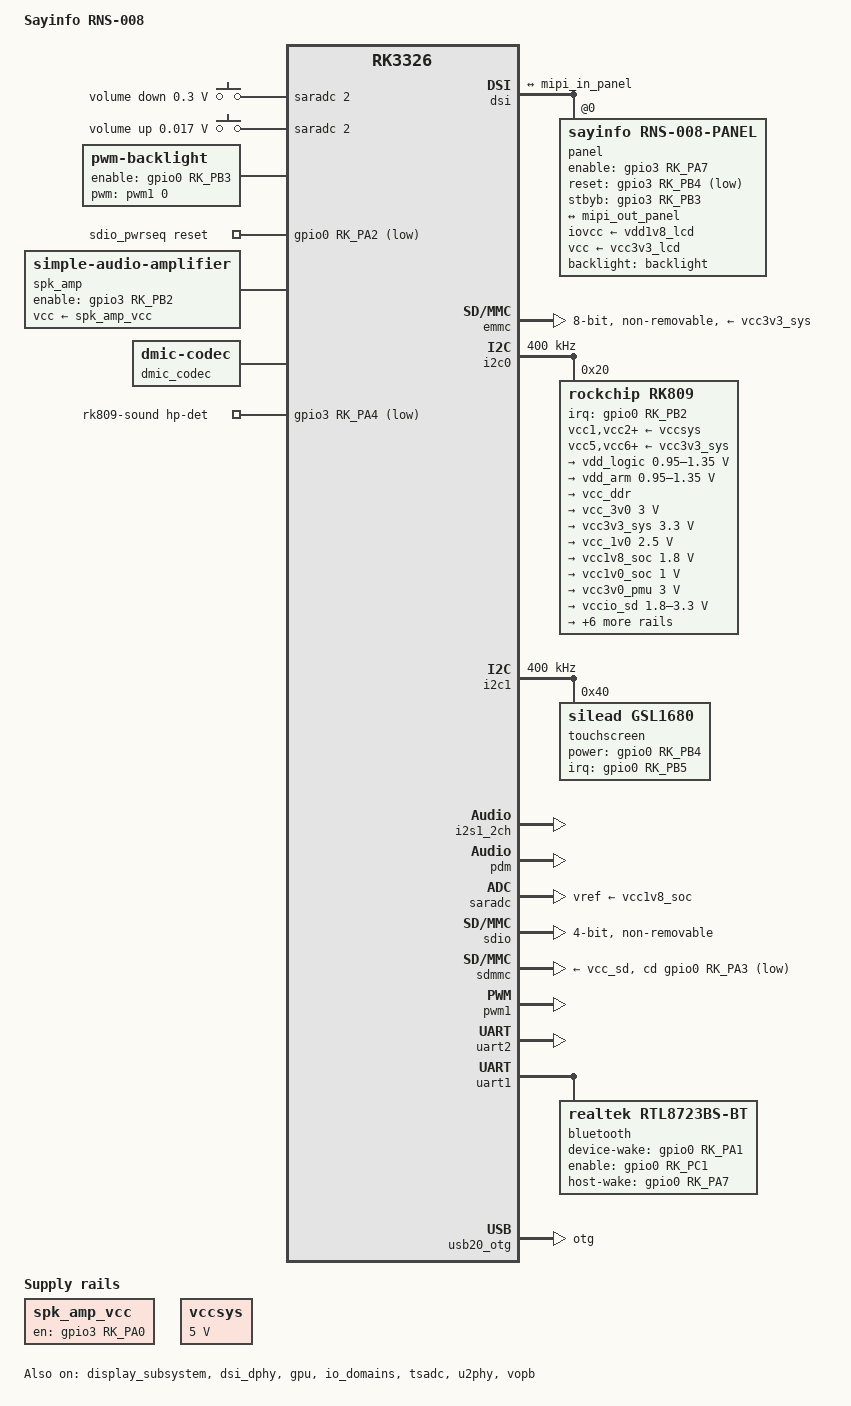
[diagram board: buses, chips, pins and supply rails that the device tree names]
// SPDX-License-Identifier: (GPL-2.0+ OR MIT)
/*
 * Copyright (c) 2026 Jun Yan <jerrysteve1101@gmail.com>
 */

/dts-v1/;
#include <dt-bindings/gpio/gpio.h>
#include <dt-bindings/input/input.h>
#include <dt-bindings/interrupt-controller/irq.h>
#include <dt-bindings/pinctrl/rockchip.h>
#include "rk3326.dtsi"

/ {
	model = "Sayinfo RNS-008";
	compatible = "sayinfo,rns-008", "rockchip,rk3326";

	aliases {
		mmc0 = &emmc;
		mmc1 = &sdmmc;
		mmc2 = &sdio;
	};

	chosen {
		stdout-path = "serial2:1500000n8";
	};

	adc_keys: adc-keys {
		compatible = "adc-keys";
		io-channels = <&saradc 2>;
		io-channel-names = "buttons";
		keyup-threshold-microvolt = <1800000>;
		poll-interval = <100>;

		button-vol-down {
			label = "volume down";
			linux,code = <KEY_VOLUMEDOWN>;
			press-threshold-microvolt = <300000>;
		};

		button-vol-up {
			label = "volume up";
			linux,code = <KEY_VOLUMEUP>;
			press-threshold-microvolt = <17000>;
		};
	};

	backlight: backlight {
		compatible = "pwm-backlight";
		enable-gpios = <&gpio0 RK_PB3 GPIO_ACTIVE_HIGH>;
		pwms = <&pwm1 0 25000 0>;
		brightness-levels = <255 254 253 252 251 250 249 248
				    247 246 245 244 243 242 241 240
				    239 238 237 236 235 234 233 232
				    231 230 229 228 227 226 225 224
				    223 222 221 220 219 218 217 216
				    215 214 213 212 211 210 209 208
				    207 206 205 204 203 202 201 200
				    199 198 197 196 195 194 193 192
				    191 190 189 188 187 186 185 184
				    183 182 181 180 179 178 177 176
				    175 174 173 172 171 170 169 168
				    167 166 165 164 163 162 161 160
				    159 158 157 156 155 154 153 152
				    151 150 149 148 147 146 145 144
				    143 142 141 140 139 138 137 136
				    135 134 133 132 131 130 129 128
				    127 126 125 124 123 122 121 120
				    119 118 117 116 115 114 113 112
				    111 110 109 108 107 106 105 104
				    103 102 101 100 99 98 97 96
				    95 94 93 92 91 90 89 88
				    87 86 85 84 83 82 81 80
				    79 78 77 76 75 74 73 72
				    71 70 69 68 67 66 65 64
				    63 62 61 60 59 58 57 56
				    55 54 53 52 51 50 49 48
				    47 46 45 44 43 42 41 40
				    39 38 37 36 35 34 33 32
				    31 30 29 28 27 26 25 24
				    23 22 22 22 22 22 22 22
				    22 22 22 22 22 22 22 22
				    22 22 22 22 22 22 22 22>;
		default-brightness-level = <200>;
	};

	sdio_pwrseq: sdio-pwrseq {
		compatible = "mmc-pwrseq-simple";
		clocks = <&rk809 1>;
		clock-names = "ext_clock";
		pinctrl-0 = <&wifi_enable_h>;
		pinctrl-names = "default";
		reset-gpios = <&gpio0 RK_PA2 GPIO_ACTIVE_LOW>;
	};

	spk_amp: audio-amplifier {
		compatible = "simple-audio-amplifier";
		enable-gpios = <&gpio3 RK_PB2 GPIO_ACTIVE_HIGH>;
		vcc-supply = <&spk_amp_vcc>;
		pinctrl-0 = <&spk_amp_enable_h>;
		pinctrl-names = "default";
		sound-name-prefix = "Speaker Amp";
	};

	spk_amp_vcc: regulator-spk-amp-vcc {
		compatible = "regulator-fixed";
		regulator-name = "spk_amp_vcc";
		gpio = <&gpio3 RK_PA0 GPIO_ACTIVE_HIGH>;
		enable-active-high;
		regulator-always-on;
		regulator-boot-on;
		pinctrl-0 = <&spk_amp_vcc_h>;
		pinctrl-names = "default";
	};

	dmic_codec: dmic-codec {
		compatible = "dmic-codec";
		num-channels = <4>;
		#sound-dai-cells = <0>;
	};

	rk809-sound {
		compatible = "simple-audio-card";
		pinctrl-0 = <&hp_det>;
		pinctrl-names = "default";
		simple-audio-card,aux-devs = <&spk_amp>;
		simple-audio-card,hp-det-gpios = <&gpio3 RK_PA4 GPIO_ACTIVE_LOW>;
		simple-audio-card,mclk-fs = <256>;
		simple-audio-card,name = "rk817_ext";
		simple-audio-card,pin-switches = "Internal Speakers";
		simple-audio-card,routing =
			"MICL", "Mic Jack",
			"MICR", "Mic Jack",
			"Headphones", "HPOL",
			"Headphones", "HPOR",
			"Internal Speakers", "Speaker Amp OUTL",
			"Internal Speakers", "Speaker Amp OUTR",
			"Speaker Amp INL", "HPOL",
			"Speaker Amp INR", "HPOR";
		simple-audio-card,widgets =
			"Microphone", "Mic Jack",
			"Headphone", "Headphones",
			"Speaker", "Internal Speakers";
		#address-cells = <1>;
		#size-cells = <0>;

		simple-audio-card,dai-link@0 {
			reg = <0>;
			format = "i2s";

			cpu {
				sound-dai = <&i2s1_2ch>;
			};

			codec {
				sound-dai = <&rk809>;
			};
		};

		simple-audio-card,dai-link@1 {
			reg = <1>;
			format = "pdm";

			cpu {
				sound-dai = <&pdm>;
			};

			codec {
				sound-dai = <&dmic_codec>;
			};
		};
	};

	vccsys: regulator-vccsys {
		compatible = "regulator-fixed";
		regulator-name = "vcc5v0_sys";
		regulator-always-on;
		regulator-boot-on;
		regulator-min-microvolt = <5000000>;
		regulator-max-microvolt = <5000000>;
	};
};

&cpu0 {
	cpu-supply = <&vdd_arm>;
};

&cpu1 {
	cpu-supply = <&vdd_arm>;
};

&cpu2 {
	cpu-supply = <&vdd_arm>;
};

&cpu3 {
	cpu-supply = <&vdd_arm>;
};

&cru {
	assigned-clocks = <&cru PLL_NPLL>,
		<&cru ACLK_BUS_PRE>, <&cru ACLK_PERI_PRE>,
		<&cru HCLK_BUS_PRE>, <&cru HCLK_PERI_PRE>,
		<&cru PCLK_BUS_PRE>, <&cru SCLK_GPU>;

	assigned-clock-rates = <1188000000>,
		<200000000>, <200000000>,
		<150000000>, <150000000>,
		<100000000>, <200000000>;
};

&display_subsystem {
	status = "okay";
};

&dsi {
	#address-cells = <1>;
	#size-cells = <0>;
	status = "okay";

	ports {
		mipi_out: port@1 {
			reg = <1>;

			mipi_out_panel: endpoint {
				remote-endpoint = <&mipi_in_panel>;
			};
		};
	};

	panel@0 {
		compatible = "sayinfo,rns-008-panel";
		reg = <0>;
		backlight = <&backlight>;
		enable-gpios = <&gpio3 RK_PA7 GPIO_ACTIVE_HIGH>;
		reset-gpios = <&gpio3 RK_PB4 GPIO_ACTIVE_LOW>;
		stbyb-gpios = <&gpio3 RK_PB3 GPIO_ACTIVE_HIGH>;
		iovcc-supply = <&vdd1v8_lcd>;
		vcc-supply = <&vcc3v3_lcd>;

		port {
			mipi_in_panel: endpoint {
				remote-endpoint = <&mipi_out_panel>;
			};
		};
	};
};

&dsi_dphy {
	status = "okay";
};

&emmc {
	bus-width = <8>;
	cap-mmc-highspeed;
	mmc-hs200-1_8v;
	non-removable;
	vmmc-supply = <&vcc3v3_sys>;
	vqmmc-supply = <&vcc1v8_soc>;
	status = "okay";
};

&gpu {
	mali-supply = <&vdd_logic>;
	status = "okay";
};

&i2c0 {
	clock-frequency = <400000>;
	i2c-scl-falling-time-ns = <16>;
	i2c-scl-rising-time-ns = <280>;
	status = "okay";

	rk809: pmic@20 {
		compatible = "rockchip,rk809";
		reg = <0x20>;
		#clock-cells = <1>;
		clock-names = "mclk";
		clock-output-names = "rk808-clkout1", "xin32k";
		clocks = <&cru SCLK_I2S1_OUT>;
		interrupt-parent = <&gpio0>;
		interrupts = <RK_PB2 IRQ_TYPE_LEVEL_LOW>;
		pinctrl-0 = <&pmic_int>, <&i2s1_2ch_mclk>;
		pinctrl-names = "default";
		#sound-dai-cells = <0>;
		system-power-controller;
		wakeup-source;

		vcc1-supply = <&vccsys>;
		vcc2-supply = <&vccsys>;
		vcc3-supply = <&vccsys>;
		vcc4-supply = <&vccsys>;
		vcc5-supply = <&vcc3v3_sys>;
		vcc6-supply = <&vcc3v3_sys>;
		vcc7-supply = <&vcc3v3_sys>;
		vcc8-supply = <&vcc3v3_sys>;
		vcc9-supply = <&vccsys>;

		regulators {
			vdd_logic: DCDC_REG1 {
				regulator-name = "vdd_logic";
				regulator-min-microvolt = <950000>;
				regulator-max-microvolt = <1350000>;
				regulator-ramp-delay = <6001>;
				regulator-always-on;
				regulator-boot-on;

				regulator-state-mem {
					regulator-on-in-suspend;
					regulator-suspend-microvolt = <950000>;
				};
			};

			vdd_arm: DCDC_REG2 {
				regulator-name = "vdd_arm";
				regulator-min-microvolt = <950000>;
				regulator-max-microvolt = <1350000>;
				regulator-ramp-delay = <6001>;
				regulator-always-on;
				regulator-boot-on;

				regulator-state-mem {
					regulator-off-in-suspend;
					regulator-suspend-microvolt = <950000>;
				};
			};

			vcc_ddr: DCDC_REG3 {
				regulator-name = "vcc_ddr";
				regulator-always-on;
				regulator-boot-on;

				regulator-state-mem {
					regulator-on-in-suspend;
				};
			};

			vcc_3v0: DCDC_REG4 {
				regulator-name = "vcc_3v0";
				regulator-min-microvolt = <3000000>;
				regulator-max-microvolt = <3000000>;
				regulator-always-on;
				regulator-boot-on;

				regulator-state-mem {
					regulator-on-in-suspend;
					regulator-suspend-microvolt = <3000000>;
				};
			};

			vcc3v3_sys: DCDC_REG5 {
				regulator-name = "vcc3v3_sys";
				regulator-min-microvolt = <3300000>;
				regulator-max-microvolt = <3300000>;
				regulator-always-on;
				regulator-boot-on;

				regulator-state-mem {
					regulator-on-in-suspend;
					regulator-suspend-microvolt = <3300000>;
				};
			};

			vcc_1v0: LDO_REG1 {
				regulator-name = "vcc_1v0";
				regulator-min-microvolt = <2500000>;
				regulator-max-microvolt = <2500000>;
				regulator-always-on;
				regulator-boot-on;

				regulator-state-mem {
					regulator-on-in-suspend;
					regulator-suspend-microvolt = <2500000>;
				};
			};

			vcc1v8_soc: LDO_REG2 {
				regulator-name = "vcc1v8_soc";
				regulator-min-microvolt = <1800000>;
				regulator-max-microvolt = <1800000>;
				regulator-always-on;
				regulator-boot-on;

				regulator-state-mem {
					regulator-on-in-suspend;
					regulator-suspend-microvolt = <1800000>;
				};
			};

			vcc1v0_soc: LDO_REG3 {
				regulator-name = "vcc1v0_soc";
				regulator-min-microvolt = <1000000>;
				regulator-max-microvolt = <1000000>;
				regulator-always-on;
				regulator-boot-on;

				regulator-state-mem {
					regulator-on-in-suspend;
					regulator-suspend-microvolt = <1000000>;
				};
			};

			vcc3v0_pmu: LDO_REG4 {
				regulator-name = "vcc3v0_pmu";
				regulator-min-microvolt = <3000000>;
				regulator-max-microvolt = <3000000>;
				regulator-always-on;
				regulator-boot-on;

				regulator-state-mem {
					regulator-on-in-suspend;
					regulator-suspend-microvolt = <3000000>;
				};
			};

			vccio_sd: LDO_REG5 {
				regulator-name = "vccio_sd";
				regulator-min-microvolt = <1800000>;
				regulator-max-microvolt = <3300000>;
				regulator-always-on;
				regulator-boot-on;

				regulator-state-mem {
					regulator-on-in-suspend;
					regulator-suspend-microvolt = <3300000>;
				};
			};

			vcc_sd: LDO_REG6 {
				regulator-name = "vcc_sd";
				regulator-min-microvolt = <3300000>;
				regulator-max-microvolt = <3300000>;
				regulator-boot-on;

				regulator-state-mem {
					regulator-on-in-suspend;
					regulator-suspend-microvolt = <3300000>;
				};
			};

			vcc2v8_dvp: LDO_REG7 {
				regulator-name = "vcc2v8_dvp";
				regulator-min-microvolt = <2800000>;
				regulator-max-microvolt = <2800000>;
				regulator-boot-on;

				regulator-state-mem {
					regulator-on-in-suspend;
					regulator-suspend-microvolt = <2800000>;
				};
			};

			vcc1v8_dvp: LDO_REG8 {
				regulator-name = "vcc1v8_dvp";
				regulator-min-microvolt = <1800000>;
				regulator-max-microvolt = <1800000>;
				regulator-boot-on;

				regulator-state-mem {
					regulator-on-in-suspend;
					regulator-suspend-microvolt = <1800000>;
				};
			};

			vdd1v8_lcd: LDO_REG9 {
				regulator-name = "vdd1v8_lcd";
				regulator-min-microvolt = <1800000>;
				regulator-max-microvolt = <1800000>;
				regulator-boot-on;

				regulator-state-mem {
					regulator-off-in-suspend;
					regulator-suspend-microvolt = <1800000>;
				};
			};

			vcc3v3_lcd: SWITCH_REG1 {
				regulator-name = "vcc3v3_lcd";
				regulator-always-on;
				regulator-boot-on;

				regulator-state-mem {
					regulator-on-in-suspend;
				};
			};

			vcc5v0_host: SWITCH_REG2 {
				regulator-name = "vcc5v0_host";
				regulator-always-on;
				regulator-boot-on;
			};
		};
	};
};

&i2c1 {
	clock-frequency = <400000>;
	status = "okay";

	touchscreen@40 {
		compatible = "silead,gsl1680";
		reg = <0x40>;
		interrupt-parent = <&gpio0>;
		interrupts = <RK_PB5 IRQ_TYPE_EDGE_FALLING>;
		power-gpios = <&gpio0 RK_PB4 GPIO_ACTIVE_HIGH>;
		touchscreen-size-x = <1024>;
		touchscreen-size-y = <600>;
	};
};

&i2s1_2ch {
	pinctrl-0 = <&i2s1_2ch_sclk &i2s1_2ch_lrck &i2s1_2ch_sdo>;
	status = "okay";
};

&io_domains {
	vccio1-supply = <&vcc1v8_soc>;
	vccio2-supply = <&vccio_sd>;
	vccio3-supply = <&vcc1v8_dvp>;
	vccio4-supply = <&vcc1v8_soc>;
	vccio5-supply = <&vcc_3v0>;
	status = "okay";
};

&pdm {
	status = "okay";
	pinctrl-names = "default", "sleep";
	pinctrl-0 = <&pdm_clk1
		     &pdm_sdi1
		     &pdm_sdi2>;
	pinctrl-1 = <&pdm_clk1_sleep
		     &pdm_sdi1_sleep
		     &pdm_sdi2_sleep>;
	/* microphones are on channels 1 and 2 */
	rockchip,path-map = <1>, <2>, <0>, <3>;
};

&pmu_io_domains {
	pmuio1-supply = <&vcc3v0_pmu>;
	pmuio2-supply = <&vcc3v0_pmu>;
	status = "okay";
};

&saradc {
	vref-supply = <&vcc1v8_soc>;
	status = "okay";
};

&sdio {
	bus-width = <4>;
	cap-sd-highspeed;
	cap-sdio-irq;
	disable-wp;
	keep-power-in-suspend;
	mmc-pwrseq = <&sdio_pwrseq>;
	no-mmc;
	no-sd;
	non-removable;
	sd-uhs-sdr104;
	status = "okay";
};

&sdmmc {
	cap-sd-highspeed;
	card-detect-delay = <200>;
	cd-gpios = <&gpio0 RK_PA3 GPIO_ACTIVE_LOW>;
	sd-uhs-sdr12;
	sd-uhs-sdr25;
	sd-uhs-sdr50;
	sd-uhs-sdr104;
	vmmc-supply = <&vcc_sd>;
	vqmmc-supply = <&vccio_sd>;
	status = "okay";
};

&pwm1 {
	status = "okay";
};

&tsadc {
	status = "okay";
};

&u2phy {
	status = "okay";

	u2phy_otg: otg-port {
		status = "okay";
	};
};

&uart2 {
	pinctrl-0 = <&uart2m0_xfer>;
	pinctrl-names = "default";
	status = "okay";
};

&uart1 {
	uart-has-rtscts;
	status = "okay";

	bluetooth: bluetooth {
		compatible = "realtek,rtl8723bs-bt";
		device-wake-gpios = <&gpio0 RK_PA1 GPIO_ACTIVE_HIGH>;
		enable-gpios = <&gpio0 RK_PC1 GPIO_ACTIVE_HIGH>;
		host-wake-gpios = <&gpio0 RK_PA7 GPIO_ACTIVE_HIGH>;
		pinctrl-0 = <&bt_reset>, <&bt_wake_dev>, <&bt_wake_host>;
		pinctrl-names = "default";
	};
};

&usb20_otg {
	dr_mode = "otg";
	status = "okay";
};

&vopb {
	status = "okay";
};

&vopb_mmu {
	status = "okay";
};

&pinctrl {
	bluetooth {
		bt_reset: bt-reset {
			rockchip,pins = <0 RK_PC1 RK_FUNC_GPIO &pcfg_pull_down>;
		};

		bt_wake_dev: bt-wake-dev {
			rockchip,pins = <0 RK_PA1 RK_FUNC_GPIO &pcfg_pull_none>;
		};

		bt_wake_host: bt-wake-host {
			rockchip,pins = <0 RK_PA7 RK_FUNC_GPIO &pcfg_pull_none>;
		};
	};

	headphone {
		hp_det: hp-det {
			rockchip,pins = <3 RK_PA4 RK_FUNC_GPIO &pcfg_pull_up>;
		};
	};

	pmic {
		pmic_int: pmic-int {
			rockchip,pins = <0 RK_PB2 RK_FUNC_GPIO &pcfg_pull_up>;
		};

		soc_slppin_gpio: soc_slppin_gpio {
			rockchip,pins = <0 RK_PA4 RK_FUNC_GPIO &pcfg_output_low>;
		};

		soc_slppin_rst: soc_slppin_rst {
			rockchip,pins = <0 RK_PA4 2 &pcfg_pull_none>;
		};

		soc_slppin_slp: soc_slppin_slp {
			rockchip,pins = <0 RK_PA4 1 &pcfg_pull_none>;
		};
	};

	sdio-pwrseq {
		wifi_enable_h: wifi-enable-h {
			rockchip,pins = <0 RK_PA2 RK_FUNC_GPIO &pcfg_pull_none>;
		};
	};

	speaker {
		spk_amp_enable_h: spk-amp-enable-h {
			rockchip,pins = <3 RK_PB2 RK_FUNC_GPIO &pcfg_pull_none>;
		};

		spk_amp_vcc_h: spk-amp-vcc-h {
			rockchip,pins = <3 RK_PA0 RK_FUNC_GPIO &pcfg_pull_none>;
		};
	};
};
